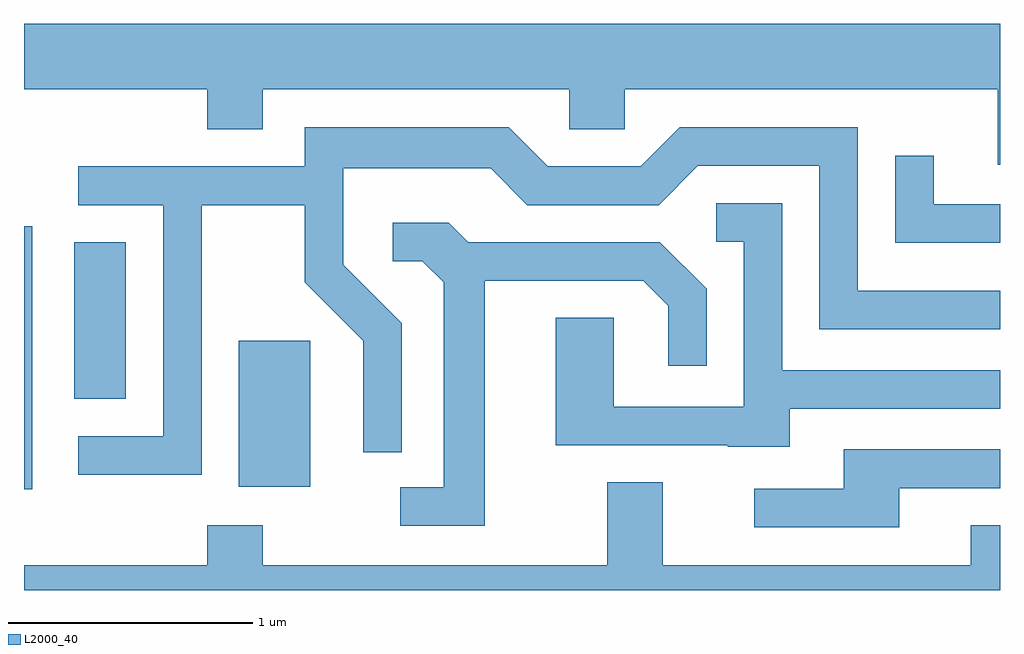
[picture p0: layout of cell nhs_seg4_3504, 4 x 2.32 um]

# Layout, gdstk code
import gdstk
lib = gdstk.Library(unit=1e-6, precision=1e-09)
def R(c, l, rs):  # rectangles x0, y0, x1, y1
    for r in rs: c.add(gdstk.rectangle(r[:2], r[2:], *l))
def P(c, l, *ps):  # polygons
    for p in ps: c.add(gdstk.Polygon(p, *l))
L2000_40 = (2000, 40)

nhs_seg4_3504 = lib.new_cell('nhs_seg4_3504')
R(nhs_seg4_3504, L2000_40, [(287.611,1326.396,287.644,1327.474), (288.491,1326.406,288.784,1327.004), (287.816,1326.766,288.029,1327.409)])
P(nhs_seg4_3504, L2000_40, [(291.611,1328.304),(287.611,1328.304),(287.611,1328.036),(288.361,1328.036),(288.361,1327.871),(288.589,1327.871),(288.589,1328.036),(289.846,1328.036),(289.846,1327.871),(290.074,1327.871),(290.074,1328.036),(291.601,1328.036),(291.601,1327.726),(291.611,1327.726)],
  [(288.339,1327.561),(288.761,1327.561),(288.761,1327.244),(289.001,1327.004),(289.001,1326.548),(289.159,1326.548),(289.159,1327.077),(288.919,1327.317),(288.919,1327.711),(289.524,1327.711),(289.674,1327.561),(290.212,1327.561),(290.372,1327.721),(290.871,1327.721),(290.871,1327.051),(291.611,1327.051),(291.611,1327.209),(291.029,1327.209),(291.029,1327.879),(290.299,1327.879),(290.139,1327.719),(289.757,1327.719),(289.597,1327.879),(288.761,1327.879),(288.761,1327.719),(287.833,1327.719),(287.833,1327.561),(288.181,1327.561),(288.181,1326.614),(287.833,1326.614),(287.833,1326.456),(288.339,1326.456)],
  [(291.611,1327.564),(291.339,1327.564),(291.339,1327.763),(291.181,1327.763),(291.181,1327.406),(291.611,1327.406)],
  [(290.749,1326.726),(291.611,1326.726),(291.611,1326.884),(290.719,1326.884),(290.719,1327.569),(290.448,1327.569),(290.448,1327.411),(290.561,1327.411),(290.561,1326.734),(290.029,1326.734),(290.029,1327.099),(289.791,1327.099),(289.791,1326.576),(290.495,1326.576),(290.495,1326.571),(290.749,1326.571)],
  [(289.499,1327.251),(290.149,1327.251),(290.251,1327.149),(290.251,1326.903),(290.409,1326.903),(290.409,1327.217),(290.217,1327.409),(289.432,1327.409),(289.352,1327.489),(289.123,1327.489),(289.123,1327.331),(289.244,1327.331),(289.331,1327.244),(289.331,1326.404),(289.153,1326.404),(289.153,1326.246),(289.499,1326.246)],
  [(291.199,1326.401),(291.611,1326.401),(291.611,1326.559),(290.971,1326.559),(290.971,1326.399),(290.603,1326.399),(290.603,1326.241),(291.199,1326.241)],
  [(291.611,1326.249),(291.491,1326.249),(291.491,1326.084),(290.229,1326.084),(290.229,1326.424),(290.001,1326.424),(290.001,1326.084),(288.589,1326.084),(288.589,1326.249),(288.361,1326.249),(288.361,1326.084),(287.611,1326.084),(287.611,1325.982),(291.611,1325.982)])

lib.write_gds('nhs_seg4_3504.gds')
